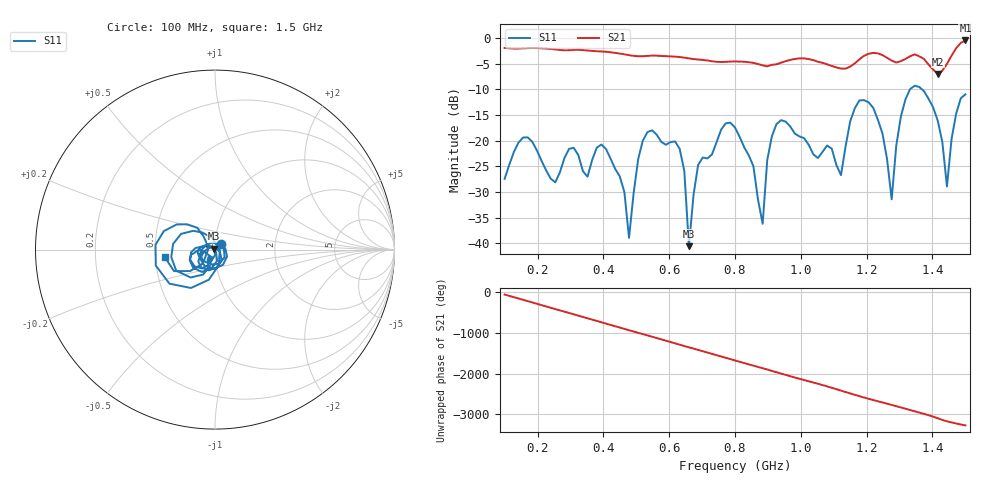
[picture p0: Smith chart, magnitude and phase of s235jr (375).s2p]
! NanoVNA-App
! Date: 2025-09-25 15:07:05
! Start: 100MHz Stop: 1,5GHz Points: 101
! S-Parameter data: F S11 S21 S12 S22
# Hz S RI R 50
!  Frequency  S11_Real  S11_Imag  S21_Real  S21_Imag  S12_Real  S12_Imag  S22_Real  S22_Imag
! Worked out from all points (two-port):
!   101 points, 100 MHz to 1.5 GHz, reference 50 ohm
!   highest |S21| = -0.51 dB at 1.5 GHz (marker M1); lowest = -7.0 dB at 1.416 GHz (marker M2)
!   |S21| within 3 dB of the highest: start of sweep to 491.8 MHz; 1.192 GHz to 1.252 GHz (60.07 MHz wide, 4.92 % of centre) (the widest 2 of 5)
!   lowest |S11| = -40.6 dB at 660 MHz (marker M3), VSWR 1.02, Z = 49.2 + j0.537 ohm
!   |S11| at or under -10 dB: start of sweep to 1.332 GHz; 1.368 GHz to end of sweep
!   S12 and S22 are empty: the file has one direction only
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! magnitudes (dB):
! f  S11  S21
! 100 MHz  -27.5  -2.0
! 156 MHz  -19.4  -2.0
! 338 MHz  -26.0  -2.4
! 408 MHz  -21.6  -2.7
! 478 MHz  -39.0  -3.4
! 520 MHz  -20.0  -3.6
! 576 MHz  -20.3  -3.5
! 632 MHz  -21.6  -3.7
! 660 MHz  -40.6  -4.0
! 688 MHz  -24.8  -4.2
! 800 MHz  -17.5  -4.6
! 884 MHz  -36.2  -5.4
! 898 MHz  -23.8  -5.5
! 926 MHz  -16.8  -5.1
! 1.038 GHz  -22.7  -4.3
! 1.122 GHz  -26.7  -6.0
! 1.206 GHz  -12.6  -3.1
! 1.276 GHz  -31.5  -4.4
! 1.332 GHz  -10.0  -3.6
! 1.416 GHz  -16.1  -7.0
! 1.444 GHz  -28.9  -5.1
! 1.5 GHz  -11.0  -0.5
